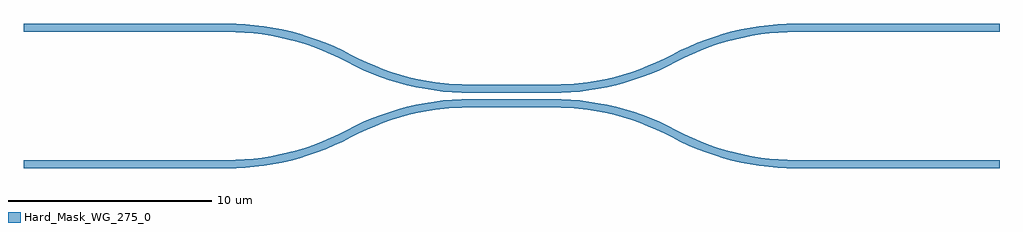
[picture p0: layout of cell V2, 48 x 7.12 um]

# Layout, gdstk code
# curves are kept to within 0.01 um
import gdstk
lib = gdstk.Library(unit=1e-6, precision=1e-09)
def R(c, l, rs):  # rectangles x0, y0, x1, y1
    for r in rs: c.add(gdstk.rectangle(r[:2], r[2:], *l))
def P(c, l, *ps):  # polygons
    for p in ps: c.add(gdstk.Polygon(p, *l))
Hard_Mask_WG_275_0 = (275, 0)

c_v2 = lib.new_cell('V2')
R(c_v2, Hard_Mask_WG_275_0, [(0,0,10,0.41), (38,0,48,0.41), (22,3,26,3.41), (22,3.71,26,4.12), (0,6.71,10,7.12), (38,6.71,48,7.12)])
P(c_v2, Hard_Mask_WG_275_0, [(38,0),(37.549,0.007),(36.644,0.07),(35.746,0.197),(34.859,0.386),(34.421,0.503),(33.558,0.784),(32.718,1.125),(31.904,1.524),(32.096,1.886),(32.486,1.685),(33.288,1.327),(34.113,1.026),(34.957,0.784),(35.816,0.601),(36.686,0.478),(37.561,0.417),(38,0.41)],
  [(31.904,1.524),(31.514,1.725),(30.712,2.083),(29.887,2.384),(29.043,2.626),(28.184,2.809),(27.314,2.932),(26.439,2.993),(26,3),(26,3.41),(26.451,3.403),(27.356,3.34),(28.254,3.213),(29.141,3.024),(30.013,2.774),(30.865,2.463),(31.693,2.093),(32.096,1.886)],
  [(32.096,5.234),(31.904,5.596),(32.305,5.802),(33.133,6.172),(33.985,6.483),(34.857,6.734),(35.744,6.923),(36.642,7.05),(37.547,7.113),(38,7.12),(38,6.71),(37.124,6.681),(36.251,6.589),(35.817,6.52),(34.958,6.337),(34.114,6.094),(33.289,5.793),(32.487,5.435)],
  [(26,3.71),(26,4.12),(26.876,4.149),(27.749,4.241),(28.183,4.31),(29.042,4.493),(29.886,4.736),(30.711,5.037),(31.513,5.395),(31.904,5.596),(32.096,5.234),(31.695,5.028),(30.867,4.658),(30.015,4.347),(29.143,4.096),(28.256,3.907),(27.358,3.78),(26.453,3.717)],
  [(16.096,1.524),(15.904,1.886),(16.305,2.092),(17.133,2.462),(17.985,2.773),(18.857,3.024),(19.744,3.213),(20.642,3.34),(21.547,3.403),(22,3.41),(22,3),(21.124,2.971),(20.251,2.879),(19.817,2.81),(18.958,2.627),(18.114,2.384),(17.289,2.083),(16.487,1.725)],
  [(10,0),(10,0.41),(10.876,0.439),(11.749,0.531),(12.183,0.6),(13.042,0.783),(13.886,1.026),(14.711,1.327),(15.513,1.685),(15.904,1.886),(16.096,1.524),(15.695,1.318),(14.867,0.948),(14.015,0.637),(13.143,0.386),(12.256,0.197),(11.358,0.07),(10.453,0.007)],
  [(22,3.71),(21.549,3.717),(20.644,3.78),(19.746,3.907),(18.859,4.096),(18.421,4.213),(17.558,4.494),(16.718,4.835),(15.904,5.234),(16.096,5.596),(16.486,5.395),(17.288,5.037),(18.113,4.736),(18.957,4.494),(19.816,4.311),(20.686,4.188),(21.561,4.127),(22,4.12)],
  [(15.904,5.234),(15.514,5.435),(14.712,5.793),(13.887,6.094),(13.043,6.336),(12.184,6.519),(11.314,6.642),(10.439,6.703),(10,6.71),(10,7.12),(10.451,7.113),(11.356,7.05),(12.254,6.923),(13.141,6.734),(14.013,6.484),(14.865,6.173),(15.693,5.803),(16.096,5.596)])

lib.write_gds('V2.gds')
